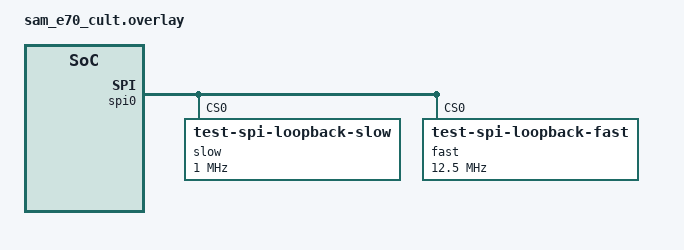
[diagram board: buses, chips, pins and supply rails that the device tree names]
/*
 * SPDX-FileCopyrightText: Copyright The Zephyr Project Contributors
 *
 * SPDX-License-Identifier: Apache-2.0
 */

/*
 * Internal loopback, no wiring needed. The slowest SPI clock is MCK / 255
 * (about 588 kHz with MCK at 150 MHz).
 */
&spi0 {
	loopback;

	slow@0 {
		compatible = "test-spi-loopback-slow";
		reg = <0>;
		spi-max-frequency = <1000000>;
	};

	fast@0 {
		compatible = "test-spi-loopback-fast";
		reg = <0>;
		spi-max-frequency = <12500000>;
	};
};
